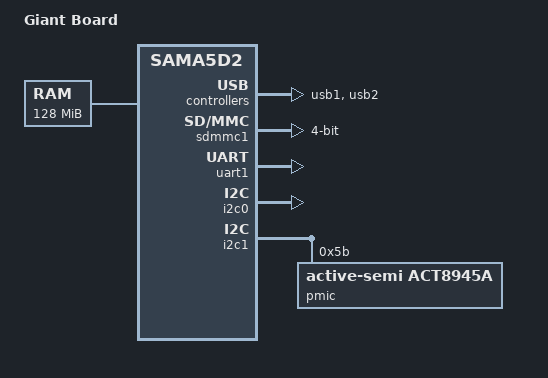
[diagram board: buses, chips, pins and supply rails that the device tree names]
/*
 * at91-sama5d27_giantboard.dts - Device Tree file for Giant Board
 *
 *  Copyright (C) 2017 Microchip Corporation
 *                     Wenyou Yang <wenyou.yang@microchip.com>
 *
 * This file is dual-licensed: you can use it either under the terms
 * of the GPL or the X11 license, at your option. Note that this dual
 * licensing only applies to this file, and not this project as a
 * whole.
 *
 *  a) This file is free software; you can redistribute it and/or
 *     modify it under the terms of the GNU General Public License as
 *     published by the Free Software Foundation; either version 2 of the
 *     License, or (at your option) any later version.
 *
 *     This file is distributed in the hope that it will be useful,
 *     but WITHOUT ANY WARRANTY; without even the implied warranty of
 *     MERCHANTABILITY or FITNESS FOR A PARTICULAR PURPOSE.  See the
 *     GNU General Public License for more details.
 *
 * Or, alternatively,
 *
 *  b) Permission is hereby granted, free of charge, to any person
 *     obtaining a copy of this software and associated documentation
 *     files (the "Software"), to deal in the Software without
 *     restriction, including without limitation the rights to use,
 *     copy, modify, merge, publish, distribute, sublicense, and/or
 *     sell copies of the Software, and to permit persons to whom the
 *     Software is furnished to do so, subject to the following
 *     conditions:
 *
 *     The above copyright notice and this permission notice shall be
 *     included in all copies or substantial portions of the Software.
 *
 *     THE SOFTWARE IS PROVIDED "AS IS", WITHOUT WARRANTY OF ANY KIND,
 *     EXPRESS OR IMPLIED, INCLUDING BUT NOT LIMITED TO THE WARRANTIES
 *     OF MERCHANTABILITY, FITNESS FOR A PARTICULAR PURPOSE AND
 *     NONINFRINGEMENT. IN NO EVENT SHALL THE AUTHORS OR COPYRIGHT
 *     HOLDERS BE LIABLE FOR ANY CLAIM, DAMAGES OR OTHER LIABILITY,
 *     WHETHER IN AN ACTION OF CONTRACT, TORT OR OTHERWISE, ARISING
 *     FROM, OUT OF OR IN CONNECTION WITH THE SOFTWARE OR THE USE OR
 *     OTHER DEALINGS IN THE SOFTWARE.
 */
/dts-v1/;
#include "sama5d2.dtsi"
#include "sama5d2-pinfunc.h"

/ {
	model = "Giant Board";
	compatible = "atmel,sama5d27-som1-ek", "atmel,sama5d2", "atmel,sama5";
	
	memory {
		reg = <0x20000000 0x8000000>;
	};

	chosen {
		u-boot,dm-pre-reloc;
		stdout-path = &uart1;
	};

	ahb {
		usb1: ohci@00400000 {
			num-ports = <3>;
			atmel,vbus-gpio = <&pioA 42 0>;
			pinctrl-names = "default";
			pinctrl-0 = <&pinctrl_usb_default>;
			status = "okay";
		};

		usb2: ehci@00500000 {
			status = "okay";
		};

		sdmmc1: sdio-host@b0000000 {
			bus-width = <4>;
			pinctrl-names = "default";
			pinctrl-0 = <&pinctrl_sdmmc1_cmd_dat_default &pinctrl_sdmmc1_ck_cd_default>;
			status = "okay"; /* conflict with qspi0 */
			u-boot,dm-pre-reloc;
		};

		apb {

			uart1: serial@f8020000 {
				pinctrl-names = "default";
				pinctrl-0 = <&pinctrl_uart1_default>;
				status = "okay";
				u-boot,dm-pre-reloc;
			};
			
			i2c0: i2c@f8028000 {
				pinctrl-names = "default";
				pinctrl-0 = <&pinctrl_i2c0_default>;
				status = "okay";
			};

			i2c1: i2c@fc028000 {
				pinctrl-names = "default";
				pinctrl-0 = <&pinctrl_i2c1_default>;
				status = "okay";
				
				pmic@5b {
					compatible = "active-semi,act8945a";
					reg = <0x5b>;
					active-semi,vsel-low;
					status = "okay";
				};
			};

			pioA: gpio@fc038000 {
				pinctrl {

					pinctrl_sdmmc1_cmd_dat_default: sdmmc1_cmd_dat_default {
						pinmux = <PIN_PA28__SDMMC1_CMD>,
							 <PIN_PA18__SDMMC1_DAT0>,
							 <PIN_PA19__SDMMC1_DAT1>,
							 <PIN_PA20__SDMMC1_DAT2>,
							 <PIN_PA21__SDMMC1_DAT3>;
						bias-pull-up;
						u-boot,dm-pre-reloc;
					};

					pinctrl_sdmmc1_ck_cd_default: sdmmc1_ck_cd_default {
						pinmux = <PIN_PA22__SDMMC1_CK>,
							 <PIN_PA30__SDMMC1_CD>;
						bias-disable;
						u-boot,dm-pre-reloc;
					};

					pinctrl_uart1_default: uart1_default {
						pinmux = <PIN_PD2__URXD1>,
							 <PIN_PD3__UTXD1>;
						bias-disable;
						u-boot,dm-pre-reloc;
					};
					
					pinctrl_i2c0_default: i2c0_default {
						pinmux = <PIN_PD21__TWD0>,
							 <PIN_PD22__TWCK0>;
						bias-disable;
					};

					pinctrl_i2c1_default: i2c1_default {
						pinmux = <PIN_PD4__TWD1>,
							 <PIN_PD5__TWCK1>;
						bias-disable;
					};

					pinctrl_usb_default: usb_default {
						pinmux = <PIN_PB10__GPIO>;
						bias-disable;
					};

					pinctrl_usba_vbus: usba_vbus {
						pinmux = <PIN_PA31__GPIO>;
						bias-disable;
					};
				};
			};
		};
	};
};
